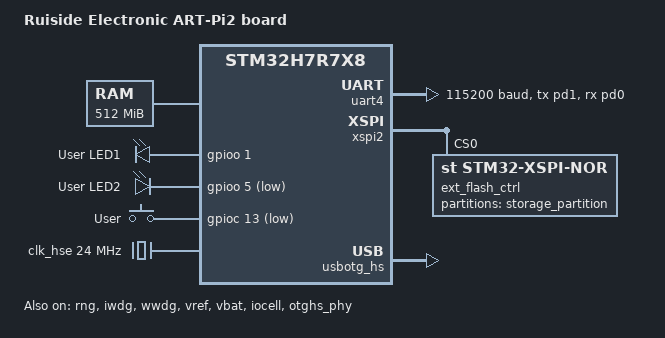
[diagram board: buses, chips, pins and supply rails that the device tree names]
/*
 * Copyright (c) 2025 Shan Pen <bricle031@gmail.com>
 *
 * SPDX-License-Identifier: Apache-2.0
 */

/dts-v1/;
#include <st/h7rs/stm32h7r7X8.dtsi>
#include <st/h7/stm32h7r7l8hxh-pinctrl.dtsi>
#include <zephyr/dt-bindings/input/input-event-codes.h>

/ {
	model = "Ruiside Electronic ART-Pi2 board";
	compatible = "ruiside,art-pi2";

	chosen {
		zephyr,console = &uart4;
		zephyr,shell-uart = &uart4;
		zephyr,sram = &sram0;
		zephyr,flash = &flash0;
		zephyr,flash-controller = &ext_flash_ctrl;
	};

	ext_flash_mem: memory@70000000 {
    compatible = "zephyr,memory-region";
    reg = <0x70000000 DT_SIZE_M(512)>;
    zephyr,memory-region = "EXTMEM";
    zephyr,memory-attr = <DT_MEM_ARM(ATTR_MPU_FLASH)>;
  };

	leds: leds {
		compatible = "gpio-leds";

		red_led: led_1 {
			gpios = <&gpioo 1 GPIO_ACTIVE_HIGH>;
			label = "User LED1";
		};

		blue_led: led_2 {
			gpios = <&gpioo 5 GPIO_ACTIVE_LOW>;
			label = "User LED2";
		};
	};

	gpio_keys {
		compatible = "gpio-keys";

		user_button: button_0 {
			label = "User";
			gpios = <&gpioc 13 GPIO_ACTIVE_LOW>;
			zephyr,code = <INPUT_KEY_0>;
		};
	};

	aliases {
		led0 = &red_led;
		led1 = &blue_led;
		sw0 = &user_button;
		watchdog0 = &iwdg;
		die-temp0 = &die_temp;
		volt-sensor0 = &vref;
		volt-sensor1 = &vbat;
	};
};

&dtcm {
	reg = <0x20000000 DT_SIZE_K(64)>;
};

&clk_hsi48 {
	status = "okay";
};

&clk_hse {
	clock-frequency = <DT_FREQ_M(24)>;
	status = "okay";
};

&pll {
	div-m = <12>;
	mul-n = <300>;
	div-p = <2>;
	div-q = <2>;
	div-r = <2>;
	div-s = <2>;
	div-t = <2>;
	clocks = <&clk_hse>;
	status = "okay";
};

&pll3 {
    div-m = <24>;
    mul-n = <240>;
    div-q = <10>;
    div-r = <1>;
    div-p = <2>;
    div-s = <2>;
    div-t = <2>;
    clocks = <&clk_hse>;
    status = "okay";
};

&rcc {
	clocks = <&pll>;
	clock-frequency = <DT_FREQ_M(300)>;
	dcpre = <1>;
	hpre = <1>;
	ppre1 = <2>;
	ppre2 = <2>;
	ppre4 = <2>;
	ppre5 = <2>;
};

&pwr {
	power-supply = "smps-direct";
};

&uart4 {
	pinctrl-0 = <&uart4_tx_pd1 &uart4_rx_pd0>;
	pinctrl-names = "default";
	current-speed = <115200>;
	status = "okay";
};

&rng {
	status = "okay";
};

&iwdg {
	status = "okay";
};

&wwdg {
	status = "okay";
};

&vref {
	status = "okay";
};

&vbat {
	status = "okay";
};

&iocell {
	status = "okay";

	vddxspi1 {
		hslv-mode = "on";
		compensation-enabled;
	};

	vddxspi2 {
		hslv-mode = "on";
		compensation-enabled;
	};
};

&xspi2 {
  pinctrl-0 = <&xspim_p2_dqs0_pn0 &xspim_p2_ncs1_pn1
               &xspim_p2_io0_pn2 &xspim_p2_io1_pn3
               &xspim_p2_io2_pn4 &xspim_p2_io3_pn5
               &xspim_p2_io4_pn8 &xspim_p2_io5_pn9
               &xspim_p2_io6_pn10 &xspim_p2_io7_pn11
               &xspim_p2_clk_pn6>;
  pinctrl-names = "default";
  status = "okay";

  ext_flash_ctrl: xspi-nor-flash@0 {
    compatible = "st,stm32-xspi-nor";
    reg = <0>;
    size = <DT_SIZE_M(512)>;
    ospi-max-frequency = <DT_FREQ_M(50)>;
    spi-bus-width = <XSPI_SPI_MODE>;
    data-rate = <XSPI_STR_TRANSFER>;
    four-byte-opcodes;
    status = "okay";

    #address-cells = <1>;
    #size-cells = <1>;

    ext_flash0:ext-flash@0 {
      compatible = "soc-nv-flash";
      reg = <0x0 DT_SIZE_M(512)>;
      write-block-size = <1>;
      erase-block-size = <DT_SIZE_K(4)>;

      partitions {
        compatible = "fixed-partitions";
        #address-cells = <1>;
        #size-cells = <1>;

        storage_partition: partition@0 {
			label = "storage_partition";
			reg = <0x00000000 0x2000>;
		};
      };
    };
  };
};

&otghs_phy {
    status = "okay";
};

zephyr_udc0:&usbotg_hs {
    pinctrl-0 = <&usb_otg_hs_dp_pm6 &usb_otg_hs_dm_pm5>;
    pinctrl-names = "default";

    status = "okay";

    cdc_acm_uart0:cdc_acm_uart0 {
		compatible = "zephyr,cdc-acm-uart";
	};
};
